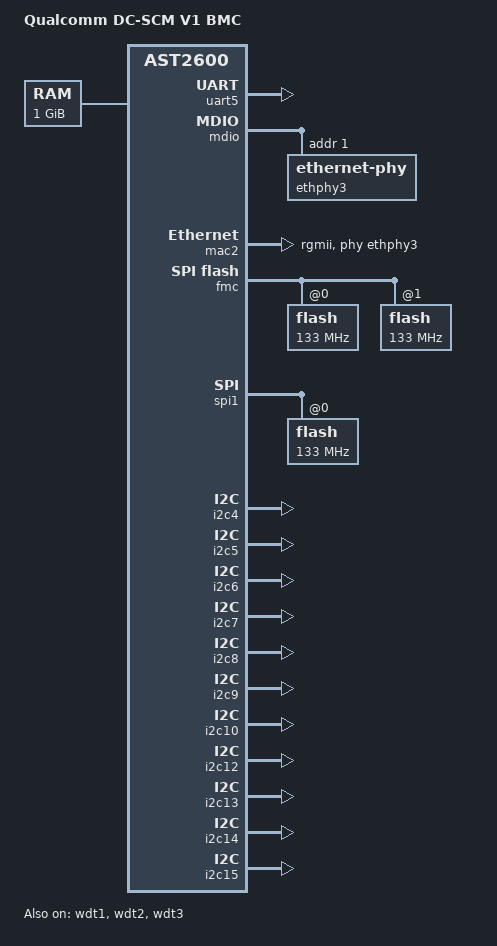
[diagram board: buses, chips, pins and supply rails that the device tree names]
// SPDX-License-Identifier: GPL-2.0-or-later
// Copyright (c) 2021-2022 Qualcomm Innovation Center, Inc. All rights reserved.
/dts-v1/;

#include "ast2600-u-boot.dtsi"

/ {
	model = "Qualcomm DC-SCM V1 BMC";
	compatible = "qcom,dc-scm-v1-bmc", "aspeed,ast2600";

	memory {
		device_type = "memory";
		reg = <0x80000000 0x40000000>;
	};

	chosen {
		stdout-path = &uart5;
	};

	aliases {
		spi0 = &fmc;
		spi1 = &spi1;
		spi2 = &spi2;
	};

	cpus {
		cpu@0 {
			clock-frequency = <800000000>;
		};
		cpu@1 {
			clock-frequency = <800000000>;
		};
	};
};

&uart5 {
	u-boot,dm-pre-reloc;
	status = "okay";
};

&sdrammc {
	clock-frequency = <400000000>;
};

&wdt1 {
	status = "okay";
};

&wdt2 {
	status = "okay";
};

&wdt3 {
	status = "okay";
};

&mdio {
	status = "okay";
	pinctrl-names = "default";
	pinctrl-0 = <&pinctrl_mdio4_default>;
	#address-cells = <1>;
	#size-cells = <0>;

	ethphy3: ethernet-phy@1 {
		reg = <1>;
	};
};

&mac2 {
	status = "okay";
	reg = <0x1e670000 0x180>, <0x1e650018 0x4>;
	phy-mode = "rgmii";
	phy-handle = <&ethphy3>;
	pinctrl-names = "default";
	pinctrl-0 = <&pinctrl_rgmii3_default>;
};

&fmc {
	status = "okay";

	pinctrl-names = "default";
	pinctrl-0 = <&pinctrl_fmcquad_default>;

	flash@0 {
		status = "okay";
		spi-max-frequency = <133000000>;
		spi-tx-bus-width = <4>;
		spi-rx-bus-width = <4>;
	};

	flash@1 {
		status = "okay";
		spi-max-frequency = <133000000>;
		spi-tx-bus-width = <4>;
		spi-rx-bus-width = <4>;
	};
};

&spi1 {
	status = "okay";

	pinctrl-names = "default";
	pinctrl-0 = <&pinctrl_spi1_default &pinctrl_spi1abr_default
			&pinctrl_spi1cs1_default &pinctrl_spi1wp_default
			&pinctrl_spi1wp_default &pinctrl_spi1quad_default>;

	flash@0 {
		status = "okay";
		spi-max-frequency = <133000000>;
		spi-tx-bus-width = <4>;
		spi-rx-bus-width = <4>;
	};
};

&i2c4 {
	status = "okay";
};

&i2c5 {
	status = "okay";
};

&i2c6 {
	status = "okay";
};

&i2c7 {
	status = "okay";
};

&i2c8 {
	status = "okay";
};

&i2c9 {
	status = "okay";
};

&i2c10 {
	status = "okay";
};

&i2c12 {
	status = "okay";
};

&i2c13 {
	status = "okay";
};

&i2c14 {
	status = "okay";
};

&i2c15 {
	status = "okay";
};

&scu {
	mac0-clk-delay = <0x1d 0x1c
			  0x10 0x17
			  0x10 0x17>;
	mac1-clk-delay = <0x1d 0x10
			  0x10 0x10
			  0x10 0x10>;
	mac2-clk-delay = <0x0a 0x04
			  0x08 0x04
			  0x08 0x04>;
	mac3-clk-delay = <0x0a 0x04
			  0x08 0x04
			  0x08 0x04>;
};
